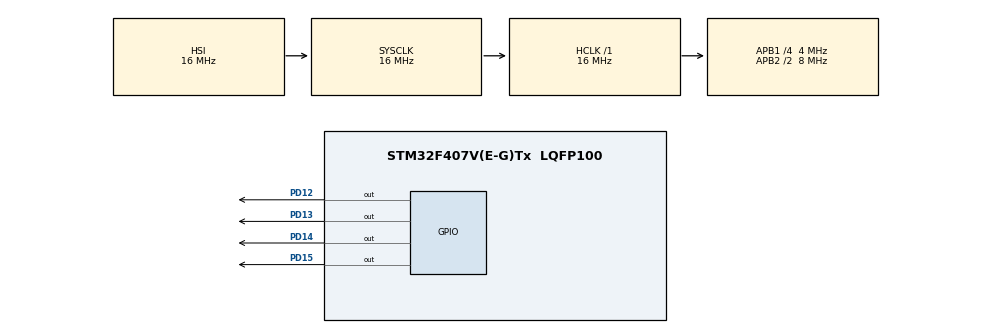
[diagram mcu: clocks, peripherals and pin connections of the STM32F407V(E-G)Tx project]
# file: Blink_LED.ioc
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Mcu.Family=STM32F4
Mcu.Name=STM32F407V(E-G)Tx
Mcu.Package=LQFP100
NVIC.PriorityGroup=NVIC_PRIORITYGROUP_0
PD12.Signal=GPIO_Output
PD13.Signal=GPIO_Output
PD14.Signal=GPIO_Output
PD15.Signal=GPIO_Output
ProjectManager.HeapSize=0x200
ProjectManager.StackSize=0x400
ProjectManager.TargetToolchain=STM32CubeIDE
RCC.48MHZClocksFreq_Value=96000000
RCC.AHBFreq_Value=16000000
RCC.APB1CLKDivider=RCC_HCLK_DIV4
RCC.APB1Freq_Value=4000000
RCC.APB1TimFreq_Value=8000000
RCC.APB2CLKDivider=RCC_HCLK_DIV2
RCC.APB2Freq_Value=8000000
RCC.APB2TimFreq_Value=16000000
RCC.CortexFreq_Value=16000000
RCC.HCLKFreq_Value=16000000
RCC.HSE_VALUE=8000000
RCC.HSI_VALUE=16000000
RCC.LSE_VALUE=32768
RCC.PLLM=8
RCC.PLLN=336
RCC.PLLQ=7
RCC.SYSCLKFreq_VALUE=16000000
RCC.VCOOutputFreq_Value=672000000
board=STM32F407G-DISC1

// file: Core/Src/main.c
/* USER CODE BEGIN Header */
/**
  ******************************************************************************
  * @file           : main.c
  * @brief          : Main program body
  ******************************************************************************
  * @attention
  *
  * Copyright (c) 2026 STMicroelectronics.
  * All rights reserved.
  *
  * This software is licensed under terms that can be found in the LICENSE file
  * in the root directory of this software component.
  * If no LICENSE file comes with this software, it is provided AS-IS.
  *
  ******************************************************************************
  */
/* USER CODE END Header */
#include "main.h"

void SystemClock_Config(void);
static void MX_GPIO_Init(void);

int main(void)
{

  /* MCU Configuration--------------------------------------------------------*/

  /* Reset of all peripherals, Initializes the Flash interface and the Systick. */
  HAL_Init();

  /* Configure the system clock */
  SystemClock_Config();

  /* Initialize all configured peripherals */
  MX_GPIO_Init();

  /* Infinite loop */
  while (1)
  {

    /* USER CODE BEGIN 3 */
	  HAL_GPIO_WritePin(GPIOD, GPIO_PIN_12, GPIO_PIN_SET);
	  HAL_Delay(1000);
	  HAL_GPIO_WritePin(GPIOD, GPIO_PIN_12, GPIO_PIN_RESET);
	  HAL_Delay(1000);

	  HAL_GPIO_WritePin(GPIOD, GPIO_PIN_13, GPIO_PIN_SET);
	  	  HAL_Delay(100);
	  	  HAL_GPIO_WritePin(GPIOD, GPIO_PIN_13, GPIO_PIN_RESET);
	  	  HAL_Delay(100);

	  	HAL_GPIO_WritePin(GPIOD, GPIO_PIN_14, GPIO_PIN_SET);
	  		  HAL_Delay(100);
	  		  HAL_GPIO_WritePin(GPIOD, GPIO_PIN_14, GPIO_PIN_RESET);
	  		  HAL_Delay(100);

	  		HAL_GPIO_WritePin(GPIOD, GPIO_PIN_15, GPIO_PIN_SET);
	  			  HAL_Delay(100);
	  			  HAL_GPIO_WritePin(GPIOD, GPIO_PIN_15, GPIO_PIN_RESET);
	  			  HAL_Delay(100);

  }
  /* USER CODE END 3 */
}

void SystemClock_Config(void)
{
  RCC_OscInitTypeDef RCC_OscInitStruct = {0};
  RCC_ClkInitTypeDef RCC_ClkInitStruct = {0};

  /** Configure the main internal regulator output voltage
  */
  __HAL_RCC_PWR_CLK_ENABLE();
  __HAL_PWR_VOLTAGESCALING_CONFIG(PWR_REGULATOR_VOLTAGE_SCALE1);

  /** Initializes the RCC Oscillators according to the specified parameters
  * in the RCC_OscInitTypeDef structure.
  */
  RCC_OscInitStruct.OscillatorType = RCC_OSCILLATORTYPE_HSI;
  RCC_OscInitStruct.HSIState = RCC_HSI_ON;
  RCC_OscInitStruct.HSICalibrationValue = RCC_HSICALIBRATION_DEFAULT;
  RCC_OscInitStruct.PLL.PLLState = RCC_PLL_NONE;
  if (HAL_RCC_OscConfig(&RCC_OscInitStruct) != HAL_OK)
  {
    Error_Handler();
  }

  /** Initializes the CPU, AHB and APB buses clocks
  */
  RCC_ClkInitStruct.ClockType = RCC_CLOCKTYPE_HCLK|RCC_CLOCKTYPE_SYSCLK
                              |RCC_CLOCKTYPE_PCLK1|RCC_CLOCKTYPE_PCLK2;
  RCC_ClkInitStruct.SYSCLKSource = RCC_SYSCLKSOURCE_HSI;
  RCC_ClkInitStruct.AHBCLKDivider = RCC_SYSCLK_DIV1;
  RCC_ClkInitStruct.APB1CLKDivider = RCC_HCLK_DIV4;
  RCC_ClkInitStruct.APB2CLKDivider = RCC_HCLK_DIV2;

  if (HAL_RCC_ClockConfig(&RCC_ClkInitStruct, FLASH_LATENCY_0) != HAL_OK)
  {
    Error_Handler();
  }
}

static void MX_GPIO_Init(void)
{
  GPIO_InitTypeDef GPIO_InitStruct = {0};

  /* GPIO Ports Clock Enable */
  __HAL_RCC_GPIOD_CLK_ENABLE();

  /*Configure GPIO pin Output Level */
  HAL_GPIO_WritePin(GPIOD, GPIO_PIN_12|GPIO_PIN_13|GPIO_PIN_14|GPIO_PIN_15, GPIO_PIN_RESET);

  /*Configure GPIO pins : PD12 PD13 PD14 PD15 */
  GPIO_InitStruct.Pin = GPIO_PIN_12|GPIO_PIN_13|GPIO_PIN_14|GPIO_PIN_15;
  GPIO_InitStruct.Mode = GPIO_MODE_OUTPUT_PP;
  GPIO_InitStruct.Pull = GPIO_NOPULL;
  GPIO_InitStruct.Speed = GPIO_SPEED_FREQ_LOW;
  HAL_GPIO_Init(GPIOD, &GPIO_InitStruct);

}

void Error_Handler(void)
{
  __disable_irq();
  while (1)
  {
  }
}
